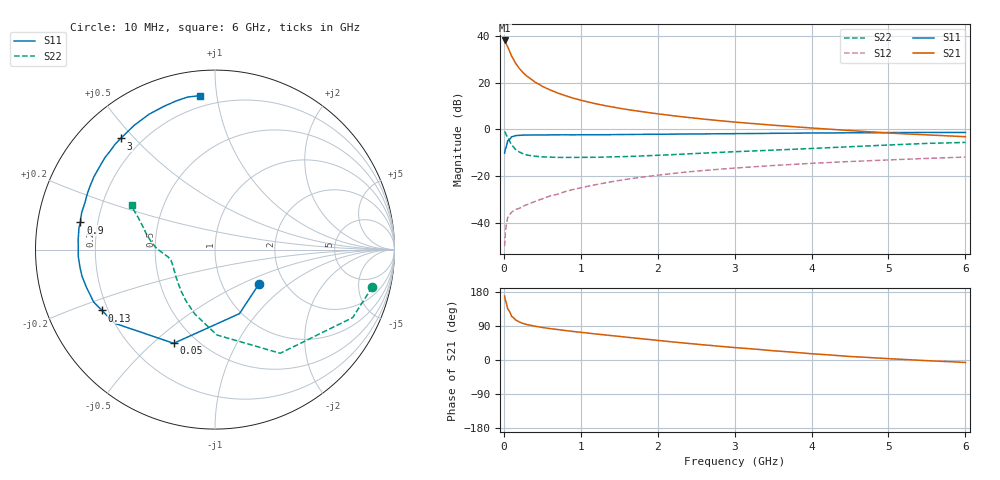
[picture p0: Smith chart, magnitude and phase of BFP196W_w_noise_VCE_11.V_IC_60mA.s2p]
! (c) 2017  Infineon Technologies AG, Munich
! Infineon Technologies  Discrete & RF Semiconductors
! BFP196W
! VCE =  11. V,  IC =  60 mA
! Common Emitter S-Parameters:  Jan 2017
# GHz  S  MA  R  50
!  f  S11  S21  S12  S22
! GHz  MAG  ANG  MAG  ANG  MAG  ANG  MAG  ANG
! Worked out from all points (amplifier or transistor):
!   77 points, 10 MHz to 6 GHz, reference 50 ohm
!   highest |S21| = 38.3 dB at 10 MHz (marker M1)
!   |S21| within 3 dB of that: start of sweep to 53.07 MHz
!   unconditionally stable (mu >= 1): 661.6 MHz to 3.298 GHz
!   at 130 MHz: K = 0.43, MSG = 32.4 dB, |S12| = -34.8 dB
!   at 2.2 GHz: K = 1.04, MAG = 11.2 dB, |S12| = -18.9 dB
!   at 6 GHz: K = 0.92, MSG = 4.4 dB, |S12| = -11.9 dB
!   lowest NFmin = 1.47 dB at 450 MHz
!   S11 on the Smith chart (normalised r, x): 10 MHz: 1.49, -0.63; 50 MHz: 0.38, -0.58; 130 MHz: 0.18, -0.24; 900 MHz: 0.13, +0.10; 3 GHz: 0.13, +0.46; 6 GHz: 0.13, +0.90
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0.01  0.311 -37.8  81.79 169.0  0.0031 70.8  0.9006 -13.4
0.02  0.3819 -69.1  77.57 158.3  0.0062 68.8  0.8555 -26.3
0.05  0.5707 -113.8  59.38 135.1  0.0128 49.9  0.6823 -57.8
0.1  0.6942 -143.8  37.91 115.4  0.0166 42.8  0.476 -88.7
0.13  0.7153 -151.7  31.2 110.7  0.0181 41.3  0.4104 -98.9
0.15  0.7364 -156.6  26.89 106.2  0.0191 40.4  0.3759 -107.5
0.2  0.7464 -163.7  20.6 100.5  0.0201 43.4  0.3282 -119.6
0.25  0.7555 -168.6  16.66 96.4  0.0224 44.2  0.3003 -128.5
0.3  0.7584 -172.1  13.93 93.6  0.0241 48.2  0.283 -135.2
0.4  0.7629 -177.2  10.57 89.2  0.0281 52.5  0.2662 -144.4
0.5  0.7617 179.0  8.46 85.8  0.0323 55.3  0.2576 -150.3
0.6  0.7644 176.1  7.077 82.8  0.0371 56.8  0.2543 -154.6
0.7  0.7652 173.4  6.063 80.4  0.0406 60.1  0.251 -157.8
0.9  0.7648 168.6  4.714 75.3  0.0512 61.0  0.251 -161.8
1.1  0.7709 164.2  3.877 70.9  0.0607 62.3  0.252 -164.7
1.5  0.7765 156.4  2.859 62.3  0.0801 61.3  0.2594 -169.4
2.1  0.7904 145.1  2.067 49.7  0.1086 57.9  0.2829 -174.9
3  0.8124 130.3  1.44 32.8  0.1477 50.5  0.3323 177.5
3.1  0.814 128.8  1.397 31.3  0.1516 49.7  0.3375 176.5
4.1  0.8399 114.6  1.048 15.2  0.1903 41.6  0.3966 166.3
5.1  0.8571 103.8  0.823 2.5  0.2247 33.9  0.4707 156.7
6  0.8621 95.4  0.698 -6.5  0.255 26.9  0.5261 151.7
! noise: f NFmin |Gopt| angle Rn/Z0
0.45  1.47  0.52  -176  0.06
0.9  1.59  0.56  -170  0.07
1.9  2.42  0.69  -149  0.17
2.4  2.81  0.73  -144  0.27
